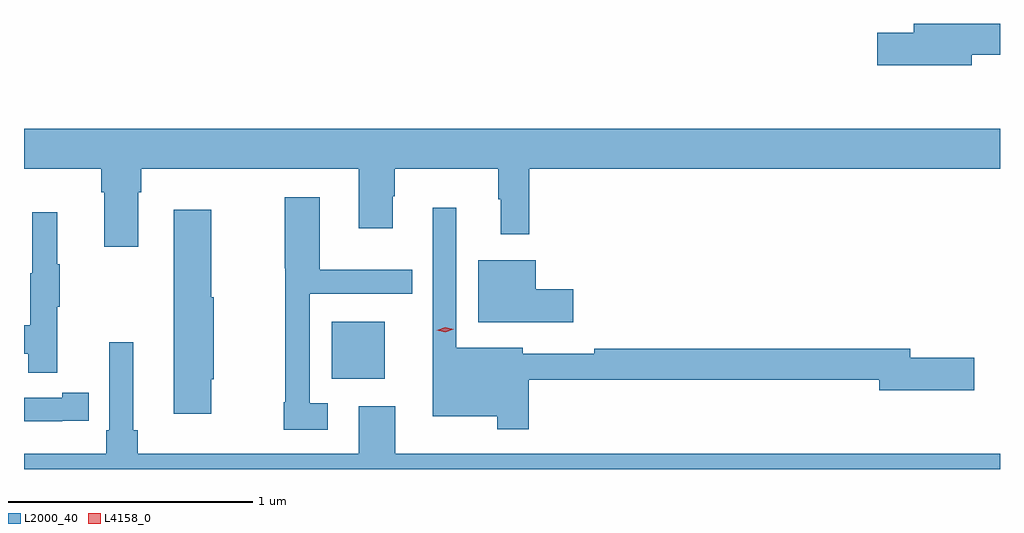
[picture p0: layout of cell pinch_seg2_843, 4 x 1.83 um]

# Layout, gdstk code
import gdstk
lib = gdstk.Library(unit=1e-6, precision=1e-09)
def R(c, l, rs):  # rectangles x0, y0, x1, y1
    for r in rs: c.add(gdstk.rectangle(r[:2], r[2:], *l))
def P(c, l, *ps):  # polygons
    for p in ps: c.add(gdstk.Polygon(p, *l))
L2000_40 = (2000, 40)
L4158_0 = (4158, 0)

pinch_seg2_843 = lib.new_cell('pinch_seg2_843')
R(pinch_seg2_843, L2000_40, [(555.596,584.171,555.814,584.404)])
P(pinch_seg2_843, L2000_40, [(558.22,585.498),(558.335,585.498),(558.335,585.626),(557.981,585.626),(557.981,585.59),(557.832,585.59),(557.832,585.455),(558.22,585.455)],
  [(554.803,584.936),(554.816,584.936),(554.816,585.032),(555.707,585.032),(555.707,584.787),(555.847,584.787),(555.847,584.918),(555.855,584.918),(555.855,585.032),(556.278,585.032),(556.278,584.906),(556.289,584.906),(556.289,584.763),(556.406,584.763),(556.406,585.032),(558.335,585.032),(558.335,585.196),(554.335,585.196),(554.335,585.032),(554.651,585.032),(554.651,584.936),(554.663,584.936),(554.663,584.712),(554.803,584.712)],
  [(555.58,584.071),(555.507,584.071),(555.507,584.52),(555.926,584.52),(555.926,584.617),(555.547,584.617),(555.547,584.914),(555.403,584.914),(555.403,584.623),(555.406,584.623),(555.406,584.074),(555.399,584.074),(555.399,583.962),(555.58,583.962)],
  [(556.403,584.166),(557.84,584.166),(557.84,584.123),(558.229,584.123),(558.229,584.258),(557.968,584.258),(557.968,584.294),(556.672,584.294),(556.672,584.274),(556.38,584.274),(556.38,584.299),(556.107,584.299),(556.107,584.872),(556.011,584.872),(556.011,584.395),(556.01,584.395),(556.01,584.018),(556.275,584.018),(556.275,583.965),(556.403,583.965)],
  [(555.102,584.169),(555.112,584.169),(555.112,584.505),(555.102,584.505),(555.102,584.863),(554.948,584.863),(554.948,584.028),(555.102,584.028)],
  [(554.471,584.467),(554.482,584.467),(554.482,584.641),(554.471,584.641),(554.471,584.854),(554.368,584.854),(554.368,584.604),(554.361,584.604),(554.361,584.39),(554.335,584.39),(554.335,584.274),(554.353,584.274),(554.353,584.196),(554.471,584.196)],
  [(556.585,584.537),(556.432,584.537),(556.432,584.656),(556.196,584.656),(556.196,584.402),(556.585,584.402)],
  [(558.335,583.864),(555.856,583.864),(555.856,584.059),(555.707,584.059),(555.707,583.864),(554.801,583.864),(554.801,583.96),(554.782,583.96),(554.782,584.32),(554.685,584.32),(554.685,583.96),(554.672,583.96),(554.672,583.864),(554.335,583.864),(554.335,583.8),(558.335,583.8)],
  [(554.492,583.998),(554.6,583.998),(554.6,584.114),(554.492,584.114),(554.492,584.094),(554.335,584.094),(554.335,583.997),(554.492,583.997)])
P(pinch_seg2_843, L4158_0, [(556.062,584.362),(556.026,584.37),(556.025,584.37),(556.026,584.37),(556.061,584.382),(556.097,584.374),(556.097,584.373),(556.097,584.373)])

lib.write_gds('pinch_seg2_843.gds')
